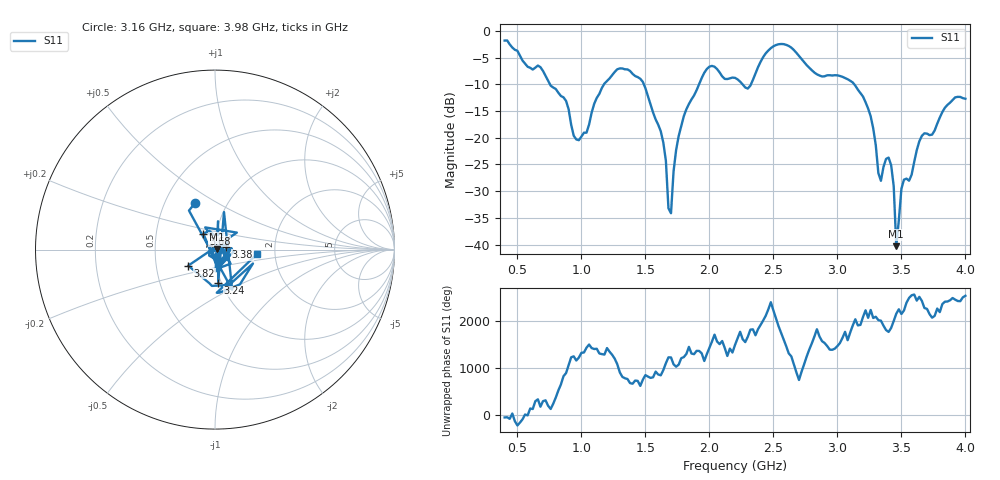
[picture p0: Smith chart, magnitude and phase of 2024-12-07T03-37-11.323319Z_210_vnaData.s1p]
!Created with skrf (http://scikit-rf.org).
# Hz S RI R 50.0
!freq ReS11 ImS11
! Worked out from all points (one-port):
!   181 points, 400 MHz to 4 GHz, reference 50 ohm
!   lowest |S11| = -40.3 dB at 3.46 GHz (marker M1), VSWR 1.02, Z = 51 + j0.0666 ohm
!   |S11| at or under -10 dB: 754.3 MHz to 1.177 GHz (422.5 MHz wide, 43.8 % of centre); 1.488 GHz to 1.919 GHz (431.7 MHz wide, 25.3 % of centre); 3.131 GHz to end of sweep (the widest 3 of 4)
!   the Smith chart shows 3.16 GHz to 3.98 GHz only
!   S11 on the Smith chart (normalised r, x): 3.16 GHz: 0.71, +0.40; 3.24 GHz: 0.97, -0.37; 3.38 GHz: 1.13, +0.03; 3.68 GHz: 0.87, +0.16; 3.82 GHz: 0.73, -0.13; 3.98 GHz: 1.61, -0.09
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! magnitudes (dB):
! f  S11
! 400 MHz  -1.8
! 860 MHz  -12.4
! 980 MHz  -20.5
! 1.3 GHz  -7.0
! 1.48 GHz  -9.6
! 1.62 GHz  -18.8
! 1.68 GHz  -33.2
! 1.7 GHz  -34.1
! 1.72 GHz  -26.3
! 1.76 GHz  -19.7
! 1.98 GHz  -7.1
! 2.2 GHz  -8.8
! 2.3 GHz  -10.8
! 2.48 GHz  -3.2
! 2.66 GHz  -3.6
! 3.1 GHz  -9.3
! 3.16 GHz  -11.0
! 3.24 GHz  -14.5
! 3.34 GHz  -28.1
! 3.38 GHz  -24.0
! 3.44 GHz  -29.1
! 3.46 GHz  -40.3
! 3.5 GHz  -29.6
! 3.56 GHz  -28.0
! 3.68 GHz  -19.2
! 3.82 GHz  -15.2
! 3.98 GHz  -12.6
! 4 GHz  -12.7
